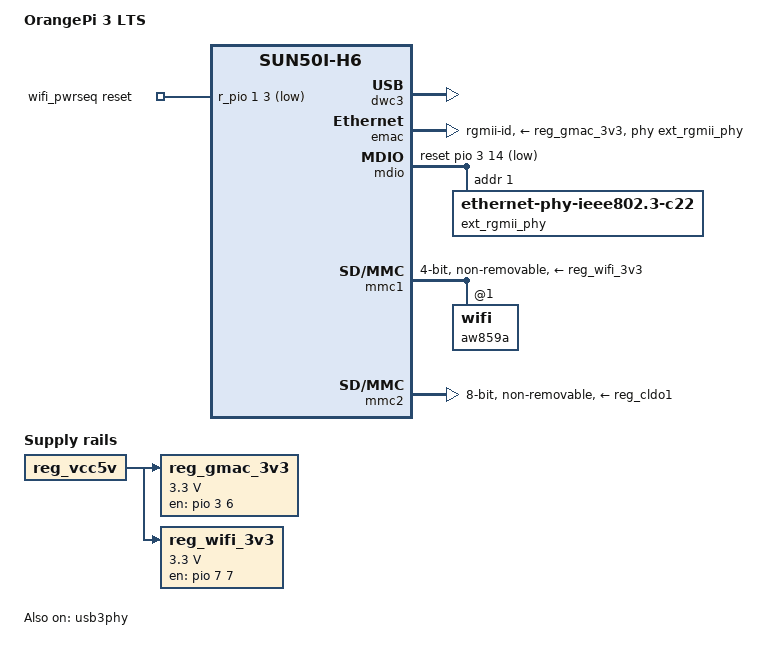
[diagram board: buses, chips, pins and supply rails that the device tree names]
// SPDX-License-Identifier: (GPL-2.0+ OR MIT)
// Copyright (C) 2025 Jernej Skrabec <jernej.skrabec@gmail.com>
// Based on sun50i-h6-orangepi-3.dts, which is:
// Copyright (C) 2019 Ondřej Jirman <megous@megous.com>

#include "sun50i-h6-orangepi.dtsi"

/ {
	model = "OrangePi 3 LTS";
	compatible = "xunlong,orangepi-3-lts", "allwinner,sun50i-h6";

	aliases {
		ethernet0 = &emac;
		ethernet1 = &aw859a;
	};

	leds {
		led-0 {
			pinctrl-names = "default";
			pinctrl-0 = <&led_red_pin>;
		};

		led-1 {
			pinctrl-names = "default";
			pinctrl-0 = <&led_green_pin>;
		};
	};

	reg_gmac_3v3: gmac-3v3 {
		compatible = "regulator-fixed";
		regulator-name = "gmac-3v3";
		vin-supply = <&reg_vcc5v>;
		regulator-min-microvolt = <3300000>;
		regulator-max-microvolt = <3300000>;
		startup-delay-us = <150000>;
		enable-active-high;
		gpio = <&pio 3 6 GPIO_ACTIVE_HIGH>; /* PD6 */
	};

	reg_wifi_3v3: wifi-3v3 {
		/* 3.3V regulator for WiFi and BT */
		compatible = "regulator-fixed";
		regulator-name = "wifi-3v3";
		vin-supply = <&reg_vcc5v>;
		regulator-min-microvolt = <3300000>;
		regulator-max-microvolt = <3300000>;
		enable-active-high;
		gpio = <&pio 7 7 GPIO_ACTIVE_HIGH>; /* PH7 */
	};

	wifi_pwrseq: wifi-pwrseq {
		compatible = "mmc-pwrseq-simple";
		clocks = <&rtc CLK_OSC32K_FANOUT>;
		clock-names = "ext_clock";
		reset-gpios = <&r_pio 1 3 GPIO_ACTIVE_LOW>; /* PM3 */
		post-power-on-delay-ms = <200>;
	};
};

&axp805 {
	/* ALDO3 is shorted to CLDO1; both inherit regulator-always-on. */
	regulators {
		cldo2 {
			/* unused */
			/delete-property/ regulator-min-microvolt;
			/delete-property/ regulator-max-microvolt;
		};

		cldo3 {
			/* unused */
			/delete-property/ regulator-min-microvolt;
			/delete-property/ regulator-max-microvolt;
		};

		/* DCDCB is polyphased with DCDCA. */
		dcdca {
			regulator-min-microvolt = <800000>;
		};
	};
};

&dwc3 {
	status = "okay";
};

&emac {
	pinctrl-names = "default";
	pinctrl-0 = <&ext_rgmii_pins>;
	phy-mode = "rgmii-id";
	phy-handle = <&ext_rgmii_phy>;
	phy-supply = <&reg_gmac_3v3>;
	allwinner,rx-delay-ps = <0>;
	allwinner,tx-delay-ps = <0>;
	status = "okay";
};

&hdmi {
	hvcc-supply = <&reg_bldo2>;
};

&mdio {
	reset-gpios = <&pio 3 14 GPIO_ACTIVE_LOW>; /* PD14 */
	reset-delay-us = <15000>;
	reset-post-delay-us = <100000>;

	ext_rgmii_phy: ethernet-phy@1 {
		compatible = "ethernet-phy-ieee802.3-c22";
		reg = <1>;

		motorcomm,clk-out-frequency-hz = <125000000>;
		rx-internal-delay-ps = <1950>;
		tx-internal-delay-ps = <1950>;
	};
};

&mmc1 {
	vmmc-supply = <&reg_wifi_3v3>;
	vqmmc-supply = <&reg_bldo3>;
	mmc-pwrseq = <&wifi_pwrseq>;
	bus-width = <4>;
	non-removable;
	status = "okay";

	aw859a: wifi@1 {
		reg = <1>;
	};
};

&mmc2 {
	vmmc-supply = <&reg_cldo1>;
	vqmmc-supply = <&reg_bldo2>;
	mmc-ddr-1_8v;
	mmc-hs200-1_8v;
	cap-mmc-hw-reset;
	non-removable;
	bus-width = <8>;
	status = "okay";
};

&pio {
	vcc-pg-supply = <&reg_bldo3>;
};

&r_pio {
	led_green_pin: led-green-pin {
		pins = "PL7";
		function = "gpio_out";
		drive-strength = <10>;
	};

	led_red_pin: led-red-pin {
		pins = "PL4";
		function = "gpio_out";
		drive-strength = <10>;
	};
};

&usb2phy {
	/delete-property/ usb0_id_det-gpios;
};

&usb3phy {
	status = "okay";
};
